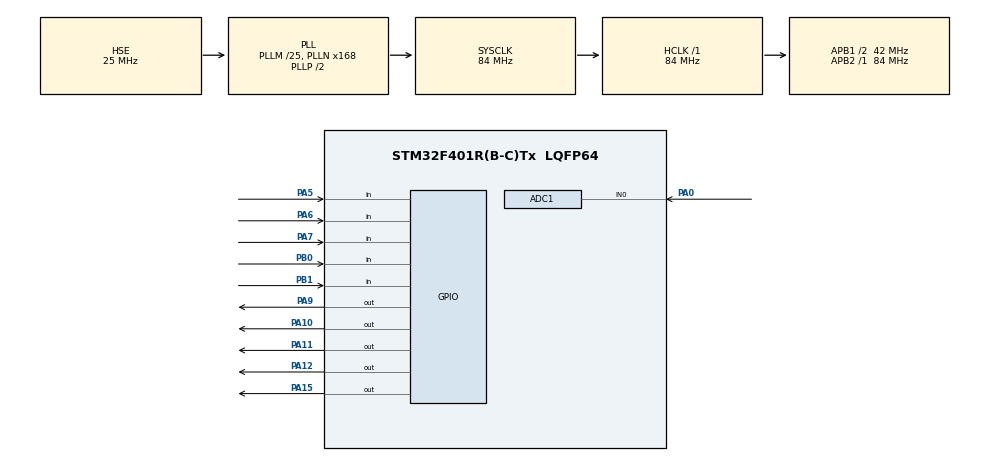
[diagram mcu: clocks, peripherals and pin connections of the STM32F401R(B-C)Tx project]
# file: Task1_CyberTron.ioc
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ADC1.Channel-0\#ChannelRegularConversion=ADC_CHANNEL_0
ADC1.NbrOfConversionFlag=1
ADC1.Rank-0\#ChannelRegularConversion=1
ADC1.SamplingTime-0\#ChannelRegularConversion=ADC_SAMPLETIME_3CYCLES
ADC1.master=1
Mcu.Family=STM32F4
Mcu.Name=STM32F401R(B-C)Tx
Mcu.Package=LQFP64
NVIC.PriorityGroup=NVIC_PRIORITYGROUP_4
PA0-WKUP.Signal=ADCx_IN0
PA10.Signal=GPIO_Output
PA11.Signal=GPIO_Output
PA12.Signal=GPIO_Output
PA13.Mode=Serial_Wire
PA13.Signal=SYS_JTMS-SWDIO
PA14.Mode=Serial_Wire
PA14.Signal=SYS_JTCK-SWCLK
PA15.Signal=GPIO_Output
PA5.GPIO_PuPd=GPIO_PULLUP
PA5.Signal=GPIO_Input
PA6.GPIO_PuPd=GPIO_PULLUP
PA6.Signal=GPIO_Input
PA7.GPIO_PuPd=GPIO_PULLUP
PA7.Signal=GPIO_Input
PA9.Signal=GPIO_Output
PB0.GPIO_PuPd=GPIO_PULLUP
PB0.Signal=GPIO_Input
PB1.GPIO_PuPd=GPIO_PULLUP
PB1.Signal=GPIO_Input
PH0\ -\ OSC_IN.Mode=HSE-External-Oscillator
PH0\ -\ OSC_IN.Signal=RCC_OSC_IN
PH1\ -\ OSC_OUT.Mode=HSE-External-Oscillator
PH1\ -\ OSC_OUT.Signal=RCC_OSC_OUT
ProjectManager.HeapSize=0x200
ProjectManager.StackSize=0x400
ProjectManager.TargetToolchain=STM32CubeIDE
RCC.48MHZClocksFreq_Value=42000000
RCC.AHBFreq_Value=84000000
RCC.APB1CLKDivider=RCC_HCLK_DIV2
RCC.APB1Freq_Value=42000000
RCC.APB1TimFreq_Value=84000000
RCC.APB2Freq_Value=84000000
RCC.APB2TimFreq_Value=84000000
RCC.CortexFreq_Value=84000000
RCC.HCLKFreq_Value=84000000
RCC.HSE_VALUE=25000000
RCC.HSI_VALUE=16000000
RCC.LSE_VALUE=32768
RCC.PLLM=25
RCC.PLLN=168
RCC.PLLSourceVirtual=RCC_PLLSOURCE_HSE
RCC.SYSCLKFreq_VALUE=84000000
RCC.SYSCLKSource=RCC_SYSCLKSOURCE_PLLCLK
RCC.VCOOutputFreq_Value=168000000
SH.ADCx_IN0.0=ADC1_IN0,IN0
board=custom

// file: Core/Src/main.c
/* USER CODE BEGIN Header */
/**
  ******************************************************************************
  * @file           : main.c
  * @brief          : Main program body
  ******************************************************************************
  * @attention
  *
  * Copyright (c) 2026 STMicroelectronics.
  * All rights reserved.
  *
  * This software is licensed under terms that can be found in the LICENSE file
  * in the root directory of this software component.
  * If no LICENSE file comes with this software, it is provided AS-IS.
  *
  ******************************************************************************
  */
/* USER CODE END Header */
#include "main.h"

/* USER CODE BEGIN Includes */
#include <stdlib.h>
/* USER CODE END Includes */

ADC_HandleTypeDef hadc1;

/* USER CODE BEGIN PV */
uint16_t led_pins[5] = {GPIO_PIN_9, GPIO_PIN_10, GPIO_PIN_11, GPIO_PIN_12, GPIO_PIN_15};
GPIO_TypeDef* led_ports[5] = {GPIOA, GPIOA, GPIOA, GPIOA, GPIOA};

uint16_t btn_pins[5] = {GPIO_PIN_5, GPIO_PIN_6, GPIO_PIN_7, GPIO_PIN_0, GPIO_PIN_1};
GPIO_TypeDef* btn_ports[5] = {GPIOA, GPIOA, GPIOA, GPIOB, GPIOB};

int failures = 0;
uint32_t reaction_window = 2000;
/* USER CODE END PV */

void SystemClock_Config(void);
static void MX_GPIO_Init(void);
static void MX_ADC1_Init(void);

int main(void)
{

  /* MCU Configuration--------------------------------------------------------*/

  /* Reset of all peripherals, Initializes the Flash interface and the Systick. */
  HAL_Init();

  /* Configure the system clock */
  SystemClock_Config();

  /* Initialize all configured peripherals */
  MX_GPIO_Init();
  MX_ADC1_Init();

  /* Infinite loop */
  while (1)
  {

    /* USER CODE BEGIN 3 */

	  /* USER CODE BEGIN 3 */
	      HAL_ADC_Start(&hadc1);
	      HAL_ADC_PollForConversion(&hadc1, 10);
	      uint32_t pot_val = HAL_ADC_GetValue(&hadc1);

	      reaction_window = 500 + ((pot_val * 4500) / 4095);

	      int target = rand() % 5;
	      HAL_GPIO_WritePin(led_ports[target], led_pins[target], GPIO_PIN_SET);

	      uint32_t start_time = HAL_GetTick();
	      int extinguished_in_time = 0;

	      while ((HAL_GetTick() - start_time) < reaction_window) {

	          if (HAL_GPIO_ReadPin(btn_ports[target], btn_pins[target]) == GPIO_PIN_RESET) {
	              extinguished_in_time = 1;
	              break;
	          }
	      }

	      HAL_GPIO_WritePin(led_ports[target], led_pins[target], GPIO_PIN_RESET);

	      if (extinguished_in_time == 1) {
	          HAL_Delay(300);
	      } else {
	          failures++;
	          HAL_Delay(500);
	      }

	      if (failures >= 3) {

	          for (int blink = 0; blink < 3; blink++) {
	              for (int i = 0; i < 5; i++) {
	                  HAL_GPIO_WritePin(led_ports[i], led_pins[i], GPIO_PIN_SET);
	              }
	              HAL_Delay(300);

	              for (int i = 0; i < 5; i++) {
	                  HAL_GPIO_WritePin(led_ports[i], led_pins[i], GPIO_PIN_RESET);
	              }
	              HAL_Delay(300);
	          }

	          failures = 0;
	          HAL_Delay(1000);
	      }
    /* USER CODE BEGIN 3 */
  }
  /* USER CODE END 3 */
}

void SystemClock_Config(void)
{
  RCC_OscInitTypeDef RCC_OscInitStruct = {0};
  RCC_ClkInitTypeDef RCC_ClkInitStruct = {0};

  /** Configure the main internal regulator output voltage
  */
  __HAL_RCC_PWR_CLK_ENABLE();
  __HAL_PWR_VOLTAGESCALING_CONFIG(PWR_REGULATOR_VOLTAGE_SCALE2);

  /** Initializes the RCC Oscillators according to the specified parameters
  * in the RCC_OscInitTypeDef structure.
  */
  RCC_OscInitStruct.OscillatorType = RCC_OSCILLATORTYPE_HSE;
  RCC_OscInitStruct.HSEState = RCC_HSE_ON;
  RCC_OscInitStruct.PLL.PLLState = RCC_PLL_ON;
  RCC_OscInitStruct.PLL.PLLSource = RCC_PLLSOURCE_HSE;
  RCC_OscInitStruct.PLL.PLLM = 25;
  RCC_OscInitStruct.PLL.PLLN = 168;
  RCC_OscInitStruct.PLL.PLLP = RCC_PLLP_DIV2;
  RCC_OscInitStruct.PLL.PLLQ = 4;
  if (HAL_RCC_OscConfig(&RCC_OscInitStruct) != HAL_OK)
  {
    Error_Handler();
  }

  /** Initializes the CPU, AHB and APB buses clocks
  */
  RCC_ClkInitStruct.ClockType = RCC_CLOCKTYPE_HCLK|RCC_CLOCKTYPE_SYSCLK
                              |RCC_CLOCKTYPE_PCLK1|RCC_CLOCKTYPE_PCLK2;
  RCC_ClkInitStruct.SYSCLKSource = RCC_SYSCLKSOURCE_PLLCLK;
  RCC_ClkInitStruct.AHBCLKDivider = RCC_SYSCLK_DIV1;
  RCC_ClkInitStruct.APB1CLKDivider = RCC_HCLK_DIV2;
  RCC_ClkInitStruct.APB2CLKDivider = RCC_HCLK_DIV1;

  if (HAL_RCC_ClockConfig(&RCC_ClkInitStruct, FLASH_LATENCY_2) != HAL_OK)
  {
    Error_Handler();
  }
}

static void MX_ADC1_Init(void)
{

  ADC_ChannelConfTypeDef sConfig = {0};

  /** Configure the global features of the ADC (Clock, Resolution, Data Alignment and number of conversion)
  */
  hadc1.Instance = ADC1;
  hadc1.Init.ClockPrescaler = ADC_CLOCK_SYNC_PCLK_DIV4;
  hadc1.Init.Resolution = ADC_RESOLUTION_12B;
  hadc1.Init.ScanConvMode = DISABLE;
  hadc1.Init.ContinuousConvMode = DISABLE;
  hadc1.Init.DiscontinuousConvMode = DISABLE;
  hadc1.Init.ExternalTrigConvEdge = ADC_EXTERNALTRIGCONVEDGE_NONE;
  hadc1.Init.ExternalTrigConv = ADC_SOFTWARE_START;
  hadc1.Init.DataAlign = ADC_DATAALIGN_RIGHT;
  hadc1.Init.NbrOfConversion = 1;
  hadc1.Init.DMAContinuousRequests = DISABLE;
  hadc1.Init.EOCSelection = ADC_EOC_SINGLE_CONV;
  if (HAL_ADC_Init(&hadc1) != HAL_OK)
  {
    Error_Handler();
  }

  /** Configure for the selected ADC regular channel its corresponding rank in the sequencer and its sample time.
  */
  sConfig.Channel = ADC_CHANNEL_0;
  sConfig.Rank = 1;
  sConfig.SamplingTime = ADC_SAMPLETIME_3CYCLES;
  if (HAL_ADC_ConfigChannel(&hadc1, &sConfig) != HAL_OK)
  {
    Error_Handler();
  }

}

static void MX_GPIO_Init(void)
{
  GPIO_InitTypeDef GPIO_InitStruct = {0};

  /* GPIO Ports Clock Enable */
  __HAL_RCC_GPIOH_CLK_ENABLE();
  __HAL_RCC_GPIOA_CLK_ENABLE();
  __HAL_RCC_GPIOB_CLK_ENABLE();

  /*Configure GPIO pin Output Level */
  HAL_GPIO_WritePin(GPIOA, GPIO_PIN_9|GPIO_PIN_10|GPIO_PIN_11|GPIO_PIN_12
                          |GPIO_PIN_15, GPIO_PIN_RESET);

  /*Configure GPIO pins : PA5 PA6 PA7 */
  GPIO_InitStruct.Pin = GPIO_PIN_5|GPIO_PIN_6|GPIO_PIN_7;
  GPIO_InitStruct.Mode = GPIO_MODE_INPUT;
  GPIO_InitStruct.Pull = GPIO_PULLUP;
  HAL_GPIO_Init(GPIOA, &GPIO_InitStruct);

  /*Configure GPIO pins : PB0 PB1 */
  GPIO_InitStruct.Pin = GPIO_PIN_0|GPIO_PIN_1;
  GPIO_InitStruct.Mode = GPIO_MODE_INPUT;
  GPIO_InitStruct.Pull = GPIO_PULLUP;
  HAL_GPIO_Init(GPIOB, &GPIO_InitStruct);

  /*Configure GPIO pins : PA9 PA10 PA11 PA12
                           PA15 */
  GPIO_InitStruct.Pin = GPIO_PIN_9|GPIO_PIN_10|GPIO_PIN_11|GPIO_PIN_12
                          |GPIO_PIN_15;
  GPIO_InitStruct.Mode = GPIO_MODE_OUTPUT_PP;
  GPIO_InitStruct.Pull = GPIO_NOPULL;
  GPIO_InitStruct.Speed = GPIO_SPEED_FREQ_LOW;
  HAL_GPIO_Init(GPIOA, &GPIO_InitStruct);

}

void Error_Handler(void)
{
  __disable_irq();
  while (1)
  {
  }
}
